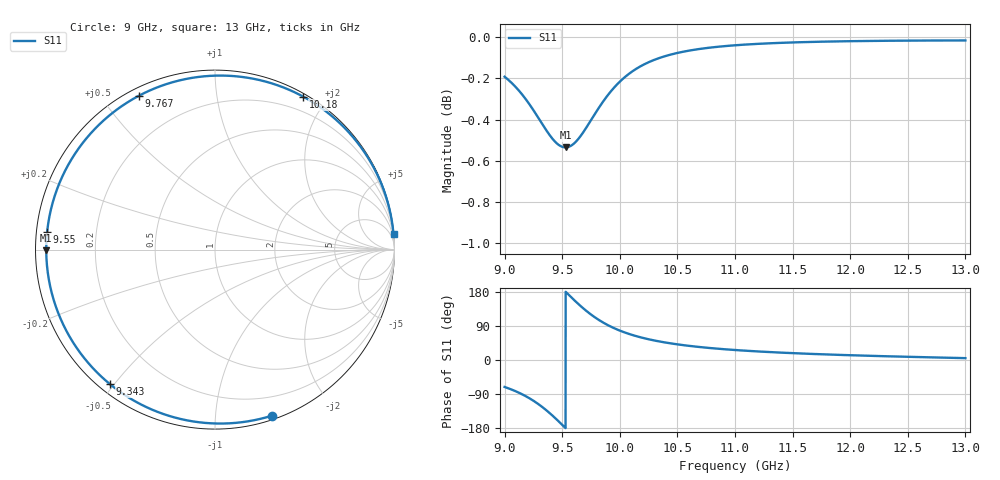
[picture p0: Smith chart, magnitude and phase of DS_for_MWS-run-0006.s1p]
! TOUCHSTONE file generated by CST DESIGN STUDIO
! Date and time: Tue Feb  4 14:06:52 2025
! Project name: C:\Work\MatlabApps\UnitCellOptimizationMatlab\CST\unitcell.cst
! Tree item: Tasks\Sweep1\SPara1\S-Parameters
! Header version: 2024
! Port assignment regex: !\s*Touchstone port\s*([0-9]+)\s*=\s*(CST MWS port|CST DES external port|CST DES block port)\s*(.+)\s* \(\"(.*)\"\)(\s*mode\s*([0-9]+))?.*
! Touchstone port assignment:
! Touchstone port 1 = CST DES external port 1 ("")
# GHz S MA R 50
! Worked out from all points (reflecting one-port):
!   4001 points, 9 GHz to 13 GHz, reference 50 ohm
!   lowest |S11| = -0.5 dB at 9.529 GHz (marker M1), VSWR 32.47, Z = 1.54 - j0.116 ohm
!   phase of S11 starts at -71 deg and turns -284 deg over the sweep
!   S11 on the Smith chart (normalised r, x): 9 GHz: 0.03, -1.40; 9.343 GHz: 0.03, -0.49; 9.55 GHz: 0.03, +0.05; 9.767 GHz: 0.03, +0.62; 10.18 GHz: 0.03, +1.73; 13 GHz: 0, +23
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9  0.9782 -71.2
9.095  0.9726 -82.3
9.201  0.9645 -98.4
9.275  0.9577 -112.5
9.343  0.9511 -127.9
9.386  0.9472 -138.7
9.43  0.9438 -150.7
9.5  0.9406 -171.1
9.529  0.9402 -179.7
9.55  0.9404 174.0
9.604  0.9424 158.0
9.664  0.9466 141.3
9.715  0.9513 128.2
9.767  0.9564 116.2
9.816  0.9611 106.1
9.869  0.9659 96.5
9.934  0.9711 86.3
10  0.9755 77.6
10.086  0.9801 68.2
10.179  0.9839 59.9
10.325  0.9881 50.0
10.5  0.9913 41.3
10.721  0.9937 33.4
11  0.9955 26.3
11.5  0.9971 18.1
12  0.9978 12.6
12.5  0.9981 8.4
13  0.9982 4.9
